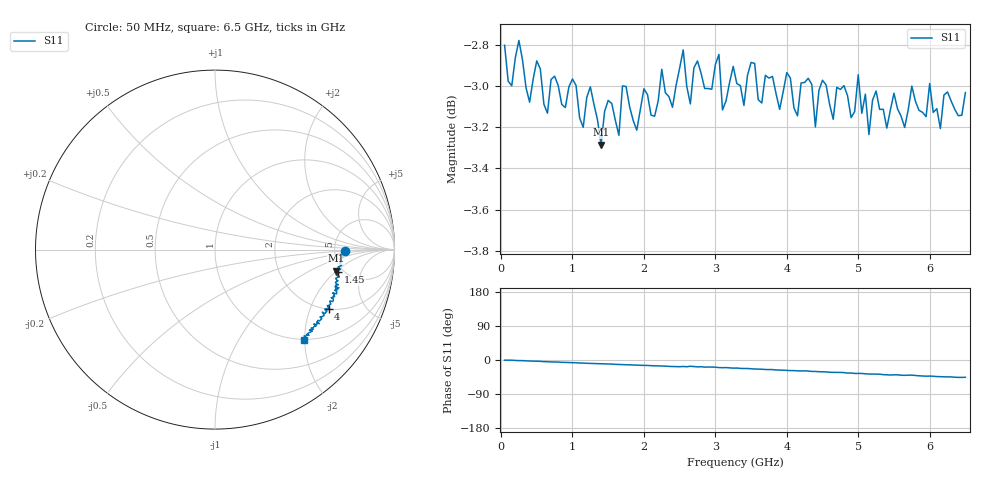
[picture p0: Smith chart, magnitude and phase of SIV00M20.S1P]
! (c) 1999  Infineon Technologies AG, Munich
! Infineon Technologies  Discrete & RF Semiconductors
! BAT24-02LS
! Si Schottky Diode in TSSLP-2
! IF = 0.2 mA
! S-Parameters:  July  2007
# GHz  S  MA  R  50
!  f  S11
! GHz  MAG  ANG
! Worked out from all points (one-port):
!   130 points, 50 MHz to 6.5 GHz, reference 50 ohm
!   lowest |S11| = -3.3 dB at 1.4 GHz (marker M1), VSWR 5.35, Z = 222 - j98.5 ohm
!   |S11| at or under -10 dB: nowhere
!   S11 on the Smith chart (normalised r, x): 50 MHz: 6.25, -0.17; 1.45 GHz: 4.49, -2.21; 4 GHz: 2.03, -2.71; 6.5 GHz: 0.98, -1.97
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0.05  0.7243 -0.5
0.9  0.6995 -6.3
1.25  0.7077 -9.0
1.4  0.6851 -9.9
1.45  0.698 -10.4
1.65  0.6887 -11.7
1.7  0.708 -12.1
1.9  0.6907 -13.4
2.5  0.7151 -17.7
2.65  0.7009 -16.5
2.75  0.718 -18.1
3.05  0.7206 -20.0
3.1  0.6986 -20.3
3.3  0.709 -21.2
4  0.7134 -27.4
4.1  0.6994 -28.0
4.3  0.7111 -29.1
4.4  0.692 -30.2
4.5  0.7103 -31.2
4.9  0.6956 -34.5
5  0.7125 -35.4
5.15  0.689 -37.0
5.45  0.6986 -39.6
5.7  0.6987 -40.0
5.95  0.696 -42.7
6  0.709 -42.4
6.15  0.6913 -44.1
6.5  0.7054 -45.6
